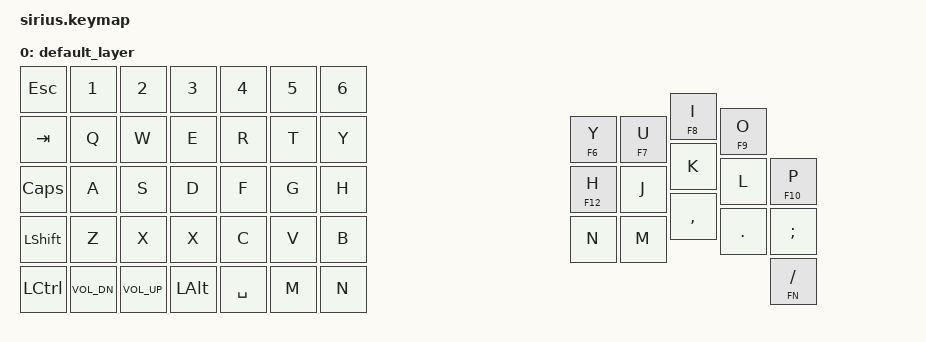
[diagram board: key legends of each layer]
#include <dt-bindings/zmk/input_transform.h>
#include <input/processors.dtsi>
#include <behaviors.dtsi>
#include <dt-bindings/zmk/bt.h>
#include <dt-bindings/zmk/keys.h>

/ {
    behaviors {
        hm: homerow_mods {
            compatible = "zmk,behavior-hold-tap";
            #binding-cells = <2>;
            tapping-term-ms = <200>;
            quick-tap-ms = <200>;
            require-prior-idle-ms = <100>;
            flavor = "tap-preferred";
            bindings = <&kp>, <&kp>;
        };

        ht: hold_tap {
            compatible = "zmk,behavior-hold-tap";
            #binding-cells = <2>;
            tapping-term-ms = <200>;
            quick-tap-ms = <200>;
            require-prior-idle-ms = <100>;
            flavor = "tap-preferred";
            bindings = <&kp>, <&kp>;
        };

        td_lang: tap_dance_lang {
            compatible = "zmk,behavior-tap-dance";
            #binding-cells = <0>;
            tapping-term-ms = <200>;
            bindings = <&kp RALT>, <&kp CAPS>;
        };
    };

    combos {
        compatible = "zmk,combos";
        combo_enter { timeout-ms = <50>; key-positions = <19 20>; bindings = <&kp ENTER>; };
        combo_lang { timeout-ms = <50>; key-positions = <29 30>; bindings = <&td_lang>; };
        combo_grave { timeout-ms = <50>; key-positions = <0 1>; bindings = <&kp GRAVE>; };
        combo_sqt { timeout-ms = <50>; key-positions = <20 21>; bindings = <&kp SQT>; };
        combo_m { timeout-ms = <50>; key-positions = <26 44>; bindings = <&kp M>; };
        combo_o { timeout-ms = <50>; key-positions = <9 10>; bindings = <&kp LS(O)>; };
        combo_p { timeout-ms = <50>; key-positions = <10 11>; bindings = <&kp LS(P)>; };
    };

      keymap {
        compatible = "zmk,keymap";

        default_layer {
            bindings = <
            &kp ESC     &kp N1   &kp N2   &kp N3   &kp N4   &kp N5   &kp N6                     &ht F6 Y        &ht F7 U        &ht F8 I        &ht F9 O        &ht F10 P
            &kp TAB     &kp Q    &kp W    &kp E    &kp R    &kp T    &kp Y                      &ht F12 H       &kp J           &kp K           &kp L           &kp SEMI
            &kp CAPS    &kp A    &kp S    &kp D    &kp F    &kp G    &kp H                      &kp N           &kp M           &kp COMMA       &kp DOT         &FN FSLH
            &kp LSHFT   &kp Z    &kp X    &kp X    &kp C    &kp V    &kp B
            &kp LCTRL   &kp C_VOL_DN    &kp C_VOL_UP  &kp LALT   &kp SPACE   &kp M   &kp N
            >;
        };
    };
};
